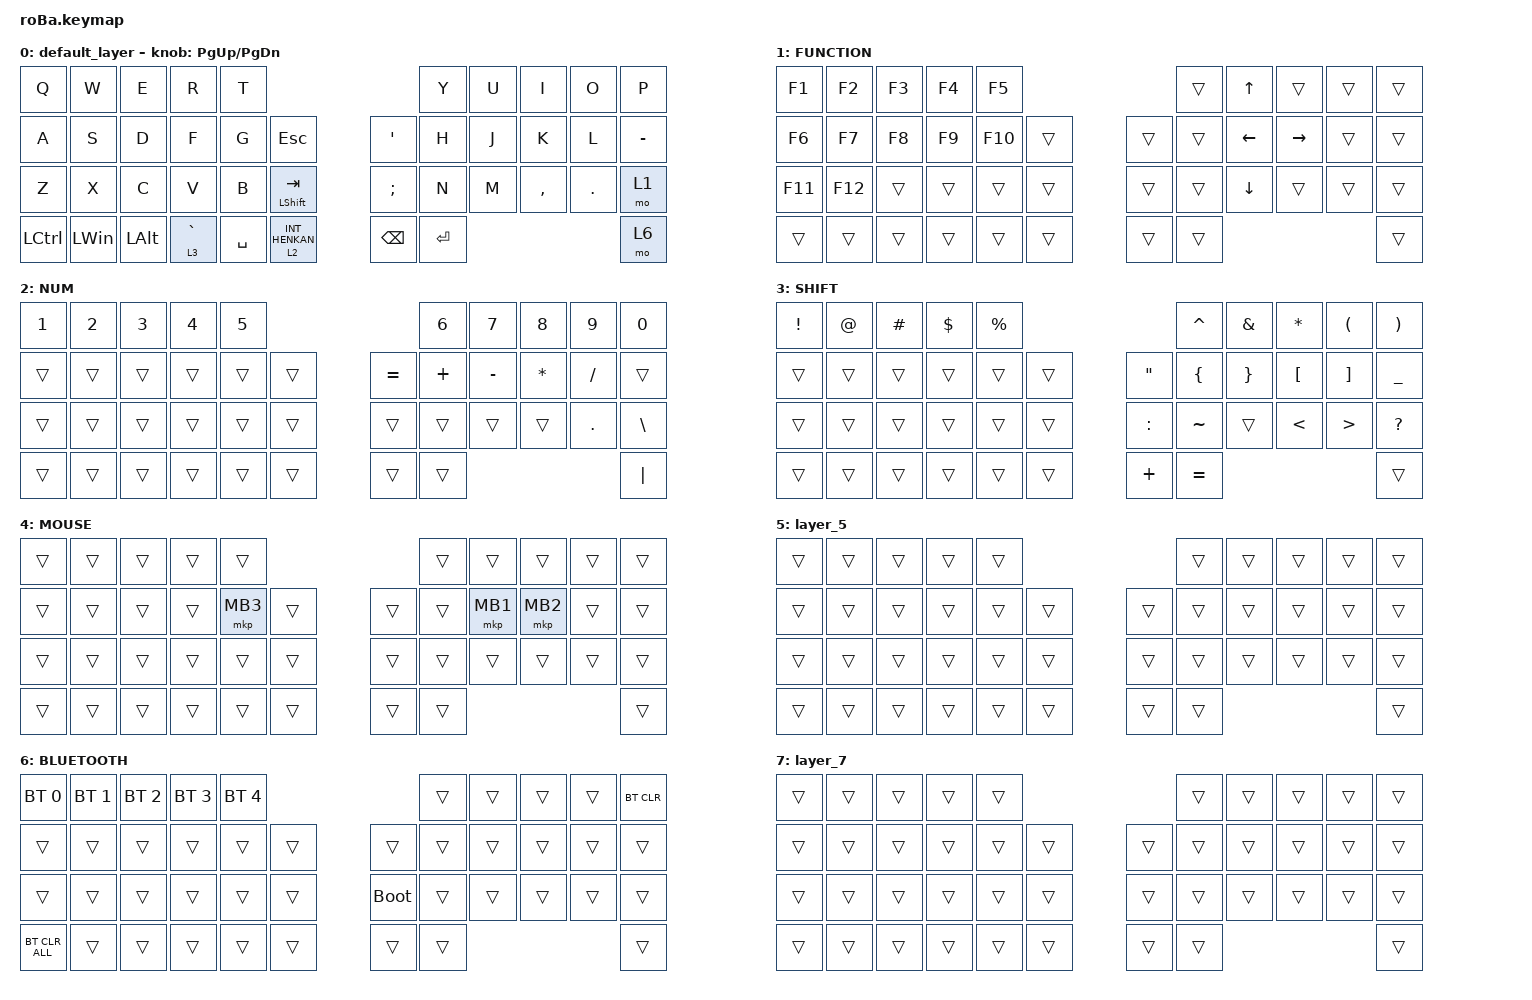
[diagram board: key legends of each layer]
#include <behaviors.dtsi>
#include <dt-bindings/zmk/bt.h>
#include <dt-bindings/zmk/keys.h>
#include <dt-bindings/zmk/pointing.h>

#define MOUSE 4
#define SCROLL 5
#define NUM 6

&mt {
    flavor = "balanced";
    quick-tap-ms = <0>;
};

/ {
    combos {
        compatible = "zmk,combos";

        tab {
            bindings = <&kp TAB>;
            key-positions = <11 12>;
        };

        shift_tab {
            bindings = <&kp LS(TAB)>;
            key-positions = <12 13>;
        };

        muhennkann {
            bindings = <&to_layer_0 INT_MUHENKAN>;
            key-positions = <11 10>;
        };

        double_quotation {
            bindings = <&kp DOUBLE_QUOTES>;
            key-positions = <20 21>;
        };

        eq {
            bindings = <&kp EQUAL>;
            key-positions = <24 25>;
        };
    };

    macros {
        to_layer_0: to_layer_0 {
            compatible = "zmk,behavior-macro-one-param";
            #binding-cells = <1>;
            bindings = <&to 0 &macro_param_1to1 &kp MACRO_PLACEHOLDER>;
            label = "TO_LAYER_0";
        };
    };

    behaviors {
        lt_to_layer_0: lt_to_layer_0 {
            compatible = "zmk,behavior-hold-tap";
            label = "LAYER_TAP_TO_0";
            bindings = <&mo>, <&to_layer_0>;

            #binding-cells = <2>;
            tapping-term-ms = <200>;
        };
    };

    keymap {
        compatible = "zmk,keymap";

        default_layer {
            bindings = <
&kp Q             &kp W         &kp E         &kp R                   &kp T                                                      &kp Y      &kp U  &kp I      &kp O    &kp P
&kp A             &kp S         &kp D         &kp F                   &kp G      &kp ESCAPE                       &kp SQT        &kp H      &kp J  &kp K      &kp L    &kp MINUS
&kp Z             &kp X         &kp C         &kp V                   &kp B      &mt LEFT_SHIFT TAB               &kp SEMICOLON  &kp N      &kp M  &kp COMMA  &kp DOT  &mo 1
&kp LEFT_CONTROL  &kp LEFT_WIN  &kp LEFT_ALT  &lt_to_layer_0 3 GRAVE  &kp SPACE  &lt_to_layer_0 2 INT_HENKAN      &kp BACKSPACE  &kp ENTER                             &mo 6
            >;

            sensor-bindings = <&inc_dec_kp PG_UP PAGE_DOWN>;
        };

        FUNCTION {
            bindings = <
&kp F1   &kp F2   &kp F3  &kp F4  &kp F5                       &trans  &kp UP_ARROW    &trans           &trans  &trans
&kp F6   &kp F7   &kp F8  &kp F9  &kp F10  &trans      &trans  &trans  &kp LEFT_ARROW  &kp RIGHT_ARROW  &trans  &trans
&kp F11  &kp F12  &trans  &trans  &trans   &trans      &trans  &trans  &kp DOWN_ARROW  &trans           &trans  &trans
&trans   &trans   &trans  &trans  &trans   &trans      &trans  &trans                                           &trans
            >;
        };

        NUM {
            bindings = <
&kp NUMBER_1  &kp NUMBER_2  &kp NUMBER_3  &kp NUMBER_4  &kp N5                         &kp NUMBER_6  &kp N7     &kp N8        &kp N9      &kp N0
&trans        &trans        &trans        &trans        &trans  &trans      &kp EQUAL  &kp PLUS      &kp MINUS  &kp ASTERISK  &kp SLASH   &trans
&trans        &trans        &trans        &trans        &trans  &trans      &trans     &trans        &trans     &trans        &kp PERIOD  &kp BACKSLASH
&trans        &trans        &trans        &trans        &trans  &trans      &trans     &trans                                             &kp PIPE
            >;
        };

        SHIFT {
            bindings = <
&kp EXCLAMATION  &kp AT_SIGN  &kp HASH  &kp DOLLAR  &kp PERCENT                                 &kp CARET       &kp AMPERSAND    &kp ASTERISK      &kp LEFT_PARENTHESIS  &kp RIGHT_PARENTHESIS
&trans           &trans       &trans    &trans      &trans       &trans      &kp DOUBLE_QUOTES  &kp LEFT_BRACE  &kp RIGHT_BRACE  &kp LEFT_BRACKET  &kp RIGHT_BRACKET     &kp UNDERSCORE
&trans           &trans       &trans    &trans      &trans       &trans      &kp COLON          &kp TILDE       &trans           &kp LESS_THAN     &kp GREATER_THAN      &kp QUESTION
&trans           &trans       &trans    &trans      &trans       &trans      &kp PLUS           &kp EQUAL                                                                &trans
            >;
        };

        MOUSE {
            bindings = <
&trans  &trans  &trans  &trans  &trans                        &trans  &trans    &trans    &trans  &trans
&trans  &trans  &trans  &trans  &mkp MB3  &trans      &trans  &trans  &mkp MB1  &mkp MB2  &trans  &trans
&trans  &trans  &trans  &trans  &trans    &trans      &trans  &trans  &trans    &trans    &trans  &trans
&trans  &trans  &trans  &trans  &trans    &trans      &trans  &trans                              &trans
            >;
        };

        layer_5 {
            bindings = <
&trans  &trans  &trans  &trans  &trans                      &trans  &trans  &trans  &trans  &trans
&trans  &trans  &trans  &trans  &trans  &trans      &trans  &trans  &trans  &trans  &trans  &trans
&trans  &trans  &trans  &trans  &trans  &trans      &trans  &trans  &trans  &trans  &trans  &trans
&trans  &trans  &trans  &trans  &trans  &trans      &trans  &trans                          &trans
            >;
        };

        BLUETOOTH {
            bindings = <
&bt BT_SEL 0    &bt BT_SEL 1  &bt BT_SEL 2  &bt BT_SEL 3  &bt BT_SEL 4                           &trans  &trans  &trans  &trans  &bt BT_CLR
&trans          &trans        &trans        &trans        &trans        &trans      &trans       &trans  &trans  &trans  &trans  &trans
&trans          &trans        &trans        &trans        &trans        &trans      &bootloader  &trans  &trans  &trans  &trans  &trans
&bt BT_CLR_ALL  &trans        &trans        &trans        &trans        &trans      &trans       &trans                          &trans
            >;
        };

        layer_7 {
            bindings = <
&trans  &trans  &trans  &trans  &trans                      &trans  &trans  &trans  &trans  &trans
&trans  &trans  &trans  &trans  &trans  &trans      &trans  &trans  &trans  &trans  &trans  &trans
&trans  &trans  &trans  &trans  &trans  &trans      &trans  &trans  &trans  &trans  &trans  &trans
&trans  &trans  &trans  &trans  &trans  &trans      &trans  &trans                          &trans
            >;
        };
    };
};
